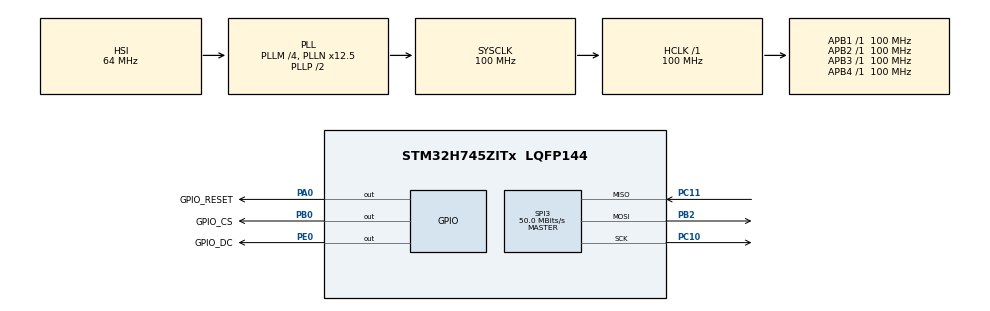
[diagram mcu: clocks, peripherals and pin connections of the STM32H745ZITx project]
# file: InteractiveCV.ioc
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CORTEX_M7.CPU_DCache=Enabled
CORTEX_M7.CPU_ICache=Enabled
CortexM4.IPs=FATFS_M4\:I,FREERTOS_M4\:I,IWDG2\:I,RCC,WWDG2\:I,DMA,BDMA,MDMA,NVIC2\:I,USART3,ETH,DEBUG,USB_DEVICE_M4\:I,USB_HOST_M4\:I,PDM2PCM_M4\:I,PWR,RESMGR_UTILITY,SYS_M4\:I,CORTEX_M4\:I,OPENAMP_M4\:I,VREFBUF,GPIO
CortexM7.IPs=FATFS_M7\:I,FREERTOS_M7\:I,IWDG1\:I,RCC\:I,WWDG1\:I,DMA\:I,BDMA\:I,MDMA\:I,NVIC1\:I,SYS\:I,USART3\:I,USB_OTG_FS\:I,ETH\:I,CORTEX_M7\:I,DEBUG\:I,USB_DEVICE_M7\:I,USB_HOST_M7\:I,PDM2PCM_M7\:I,PWR\:I,RESMGR_UTILITY\:I,OPENAMP_M7\:I,VREFBUF\:I,GPIO\:I,TIM1\:I,SPI3\:I
Mcu.Family=STM32H7
Mcu.Name=STM32H745ZITx
Mcu.Package=LQFP144
NVIC1.PriorityGroup=NVIC_PRIORITYGROUP_4
NVIC2.PriorityGroup=NVIC_PRIORITYGROUP_4
PA0.GPIO_Label=GPIO_RESET
PA0.GPIO_Speed=GPIO_SPEED_FREQ_VERY_HIGH
PA0.PinAttribute=Free
PA0.Signal=GPIO_Output
PB0.GPIO_Label=GPIO_CS
PB0.GPIO_Speed=GPIO_SPEED_FREQ_VERY_HIGH
PB0.PinAttribute=Free
PB0.Signal=GPIO_Output
PB2.Mode=Full_Duplex_Master
PB2.PinAttribute=CortexM7
PB2.Signal=SPI3_MOSI
PC10.Mode=Full_Duplex_Master
PC10.PinAttribute=CortexM7
PC10.Signal=SPI3_SCK
PC11.Mode=Full_Duplex_Master
PC11.PinAttribute=CortexM7
PC11.Signal=SPI3_MISO
PE0.GPIO_Label=GPIO_DC
PE0.GPIO_Speed=GPIO_SPEED_FREQ_VERY_HIGH
PE0.PinAttribute=Free
PE0.Signal=GPIO_Output
ProjectManager.HeapSize=M4-0x200,M7-0x200
ProjectManager.StackSize=M4-0x400,M7-0x400
ProjectManager.TargetToolchain=STM32CubeIDE
RCC.ADCFreq_Value=129000000
RCC.APB1Freq_Value=100000000
RCC.APB2Freq_Value=100000000
RCC.APB3Freq_Value=100000000
RCC.APB4Freq_Value=100000000
RCC.CortexFreq_Value=100000000
RCC.DIVM1=4
RCC.DIVM3=1
RCC.DIVN1=12
RCC.DIVN3=18
RCC.DIVQ3=3
RCC.HCLKFreq_Value=100000000
RCC.HSE_VALUE=8000000
RCC.PLLFRACN=4096
RCC.SYSCLKFreq_VALUE=100000000
RCC.SYSCLKSource=RCC_SYSCLKSOURCE_PLLCLK
RCC.SupplySource=PWR_DIRECT_SMPS_SUPPLY
RCC.USBCLockSelection=RCC_USBCLKSOURCE_PLL3
RCC.USBFreq_Value=400000000
SPI3.BaudRatePrescaler=SPI_BAUDRATEPRESCALER_2
SPI3.CalculateBaudRate=50.0 MBits/s
SPI3.DataSize=SPI_DATASIZE_8BIT
SPI3.Direction=SPI_DIRECTION_2LINES
SPI3.Mode=SPI_MODE_MASTER
SPI3.VirtualType=VM_MASTER
TIM1.ClockDivision=TIM_CLOCKDIVISION_DIV2
TIM1.Prescaler=10000
VP_SYS_M4_VS_Systick.Mode=SysTick
VP_TIM1_VS_ClockSourceINT.Mode=Internal
board=NUCLEO-H745ZI-Q

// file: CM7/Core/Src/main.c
/* USER CODE BEGIN Header */
/**
  ******************************************************************************
  * @file           : main.c
  * @brief          : Main program body
  ******************************************************************************
  * @attention
  *
  * Copyright (c) 2023 STMicroelectronics.
  * All rights reserved.
  *
  * This software is licensed under terms that can be found in the LICENSE file
  * in the root directory of this software component.
  * If no LICENSE file comes with this software, it is provided AS-IS.
  *
  ******************************************************************************
  */
/* USER CODE END Header */
#include "main.h"
#include "spi.h"
#include "tim.h"
#include "gpio.h"

/* USER CODE BEGIN Includes */
#include "ILI9341_STM32_Driver.h"
#include "ILI9341_GFX.h"
/* USER CODE END Includes */

void SystemClock_Config(void);

int main(void)
{
/* USER CODE BEGIN Boot_Mode_Sequence_0 */

/* USER CODE END Boot_Mode_Sequence_0 */

  /* Enable I-Cache---------------------------------------------------------*/
  SCB_EnableICache();

  /* Enable D-Cache---------------------------------------------------------*/
  SCB_EnableDCache();

/* USER CODE BEGIN Boot_Mode_Sequence_1 */
  /* Wait until CPU2 boots and enters in stop mode or timeout*/
/* USER CODE END Boot_Mode_Sequence_1 */
  /* MCU Configuration--------------------------------------------------------*/

  /* Reset of all peripherals, Initializes the Flash interface and the Systick. */
  HAL_Init();

  /* Configure the system clock */
  SystemClock_Config();
/* USER CODE BEGIN Boot_Mode_Sequence_2 */
/* USER CODE END Boot_Mode_Sequence_2 */

  /* Initialize all configured peripherals */
  MX_GPIO_Init();
  MX_TIM1_Init();
  MX_SPI3_Init();
  /* USER CODE BEGIN 2 */
  ILI9341_Init();
  /* USER CODE END 2 */

  /* Infinite loop */
  /* USER CODE BEGIN WHILE */
  while (1)
  {
			ILI9341_Fill_Screen(WHITE);
			ILI9341_Set_Rotation(SCREEN_HORIZONTAL_2);
			ILI9341_Draw_Text("Counting multiple segments at once", 10, 10, BLACK, 1, WHITE);
			HAL_Delay(2000);
			ILI9341_Fill_Screen(WHITE);

			static uint16_t x = 0;
			static uint16_t y = 0;

			char Temp_Buffer_text[40];
			for(uint16_t i = 0; i <= 10; i++)
			{
			sprintf(Temp_Buffer_text, "Counting: %d", i);
			ILI9341_Draw_Text(Temp_Buffer_text, 10, 10, BLACK, 2, WHITE);
			ILI9341_Draw_Text(Temp_Buffer_text, 10, 30, BLUE, 2, WHITE);
			ILI9341_Draw_Text(Temp_Buffer_text, 10, 50, RED, 2, WHITE);
			ILI9341_Draw_Text(Temp_Buffer_text, 10, 70, GREEN, 2, WHITE);
			ILI9341_Draw_Text(Temp_Buffer_text, 10, 90, BLACK, 2, WHITE);
			ILI9341_Draw_Text(Temp_Buffer_text, 10, 110, BLUE, 2, WHITE);
			ILI9341_Draw_Text(Temp_Buffer_text, 10, 130, RED, 2, WHITE);
			ILI9341_Draw_Text(Temp_Buffer_text, 10, 150, GREEN, 2, WHITE);
			ILI9341_Draw_Text(Temp_Buffer_text, 10, 170, WHITE, 2, BLACK);
			ILI9341_Draw_Text(Temp_Buffer_text, 10, 190, BLUE, 2, BLACK);
			ILI9341_Draw_Text(Temp_Buffer_text, 10, 210, RED, 2, BLACK);
			}

			HAL_Delay(1000);

    /* USER CODE END WHILE */

  }
}

void SystemClock_Config(void)
{
  RCC_OscInitTypeDef RCC_OscInitStruct = {0};
  RCC_ClkInitTypeDef RCC_ClkInitStruct = {0};

  /** Supply configuration update enable
  */
  HAL_PWREx_ConfigSupply(PWR_DIRECT_SMPS_SUPPLY);

  /** Configure the main internal regulator output voltage
  */
  __HAL_PWR_VOLTAGESCALING_CONFIG(PWR_REGULATOR_VOLTAGE_SCALE3);

  while(!__HAL_PWR_GET_FLAG(PWR_FLAG_VOSRDY)) {}

  /** Initializes the RCC Oscillators according to the specified parameters
  * in the RCC_OscInitTypeDef structure.
  */
  RCC_OscInitStruct.OscillatorType = RCC_OSCILLATORTYPE_HSI;
  RCC_OscInitStruct.HSIState = RCC_HSI_DIV1;
  RCC_OscInitStruct.HSICalibrationValue = RCC_HSICALIBRATION_DEFAULT;
  RCC_OscInitStruct.PLL.PLLState = RCC_PLL_ON;
  RCC_OscInitStruct.PLL.PLLSource = RCC_PLLSOURCE_HSI;
  RCC_OscInitStruct.PLL.PLLM = 4;
  RCC_OscInitStruct.PLL.PLLN = 12;
  RCC_OscInitStruct.PLL.PLLP = 2;
  RCC_OscInitStruct.PLL.PLLQ = 2;
  RCC_OscInitStruct.PLL.PLLR = 2;
  RCC_OscInitStruct.PLL.PLLRGE = RCC_PLL1VCIRANGE_3;
  RCC_OscInitStruct.PLL.PLLVCOSEL = RCC_PLL1VCOWIDE;
  RCC_OscInitStruct.PLL.PLLFRACN = 4096;
  if (HAL_RCC_OscConfig(&RCC_OscInitStruct) != HAL_OK)
  {
    Error_Handler();
  }

  /** Initializes the CPU, AHB and APB buses clocks
  */
  RCC_ClkInitStruct.ClockType = RCC_CLOCKTYPE_HCLK|RCC_CLOCKTYPE_SYSCLK
                              |RCC_CLOCKTYPE_PCLK1|RCC_CLOCKTYPE_PCLK2
                              |RCC_CLOCKTYPE_D3PCLK1|RCC_CLOCKTYPE_D1PCLK1;
  RCC_ClkInitStruct.SYSCLKSource = RCC_SYSCLKSOURCE_PLLCLK;
  RCC_ClkInitStruct.SYSCLKDivider = RCC_SYSCLK_DIV1;
  RCC_ClkInitStruct.AHBCLKDivider = RCC_HCLK_DIV1;
  RCC_ClkInitStruct.APB3CLKDivider = RCC_APB3_DIV1;
  RCC_ClkInitStruct.APB1CLKDivider = RCC_APB1_DIV1;
  RCC_ClkInitStruct.APB2CLKDivider = RCC_APB2_DIV1;
  RCC_ClkInitStruct.APB4CLKDivider = RCC_APB4_DIV1;

  if (HAL_RCC_ClockConfig(&RCC_ClkInitStruct, FLASH_LATENCY_2) != HAL_OK)
  {
    Error_Handler();
  }
}

void Error_Handler(void)
{
  __disable_irq();
  while (1)
  {
  }
}
